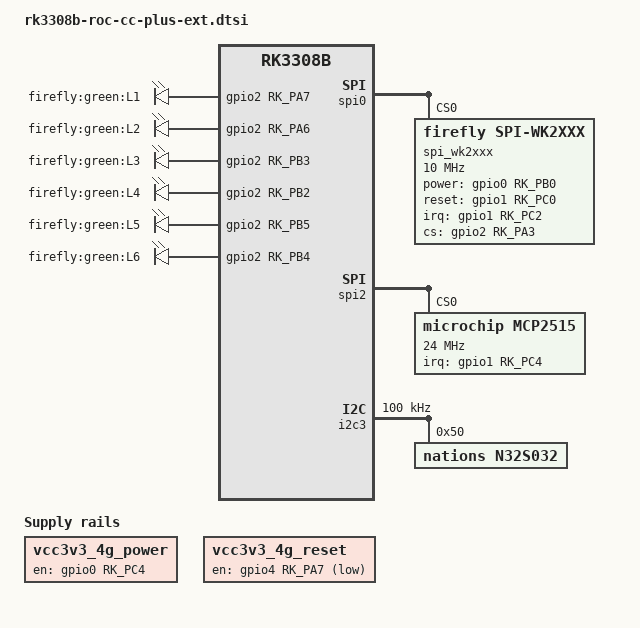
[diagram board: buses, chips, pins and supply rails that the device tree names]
/ {
    vcc3v3_4g_power: vcc3v3-4g-power-regulator {
       compatible = "regulator-fixed";
       enable-active-high;
       regulator-always-on;
       regulator-boot-on;
       gpio = <&gpio0 RK_PC4 GPIO_ACTIVE_HIGH>;
       pinctrl-names = "default";
       pinctrl-0 = <&pcie_4g_power>;
       regulator-name = "vcc3v3_4g_power";
    };

    vcc3v3_4g_reset: vcc3v3-4g-reset-regulator {
       compatible = "regulator-fixed";
       //enable-active-high;
       regulator-always-on;
       regulator-boot-on;
       gpio = <&gpio4 RK_PA7 GPIO_ACTIVE_HIGH>;
       pinctrl-names = "default";
       pinctrl-0 = <&pcie_4g_reset>;
       regulator-name = "vcc3v3_4g_reset";
    };

    mcp251x_clk: mcp251x-clk {
        compatible = "fixed-clock";
        #clock-cells = <0>;
        clock-frequency = <8000000>;        //MCP2515_CAN模块的晶振为8MHz
    };

    leds {
        status = "okay";
        compatible = "gpio-leds";

        L1 {
            label = "firefly:green:L1";
            gpios = <&gpio2 RK_PA7 GPIO_ACTIVE_HIGH>;
        };

        L2 {
            label = "firefly:green:L2";
            gpios = <&gpio2 RK_PA6 GPIO_ACTIVE_HIGH>;
        };

        L3 {
            label = "firefly:green:L3";
            gpios = <&gpio2 RK_PB3 GPIO_ACTIVE_HIGH>;
        };

        L4 {
            label = "firefly:green:L4";
            gpios = <&gpio2 RK_PB2 GPIO_ACTIVE_HIGH>;
        };

        L5 {
            label = "firefly:green:L5";
            gpios = <&gpio2 RK_PB5 GPIO_ACTIVE_HIGH>;
        };

        L6 {
            label = "firefly:green:L6";
            gpios = <&gpio2 RK_PB4 GPIO_ACTIVE_HIGH>;
        };
    };

};

&spi0 {
    status = "okay";
    max-freq = <48000000>;
    dev-port = <0>;
    dma-names = "!tx", "!rx";       //关闭dma，否则uart在数据包大于等于32字节时会有丢包现象

    spi_wk2xxx: spi_wk2xxx@00{                                                                                                                                                                                                              
        status = "okay";
        compatible = "firefly,spi-wk2xxx";
        reg = <0x00>;
        spi-max-frequency = <10000000>;
        power-gpio = <&gpio0 RK_PB0 GPIO_ACTIVE_HIGH>;
        reset-gpio = <&gpio1 RK_PC0 GPIO_ACTIVE_HIGH>;
        irq-gpio = <&gpio1 RK_PC2 IRQ_TYPE_EDGE_FALLING>;
        cs-gpio = <&gpio2 RK_PA3 GPIO_ACTIVE_HIGH>;
        /* rk3399 driver support SPI_CPOL | SPI_CPHA | SPI_CS_HIGH */
        //spi-cpha;             /* SPI mode: CPHA=1 */
        //spi-cpol;     /* SPI mode: CPOL=1 */
        //spi-cs-high;
    };
};

&spi2 {
    status = "okay";

    mcp2515: can@00 {
        status = "okay";
        compatible = "microchip,mcp2515";
        reg = <0x00>;
        clocks = <&mcp251x_clk>;
        interrupt-parent = <&gpio1>;
        interrupts = <RK_PC4 IRQ_TYPE_EDGE_FALLING>;
        spi-max-frequency = <24000000>;
        pinctrl-names = "default";
        pinctrl-0 = <&can0_pins>;
        poll_mode = <0>;
        enable_dma = <1>;
    };

    spi_LoRa1276C1: lora1276C1@01 {
        status = "disabled";
        compatible = "firefly,lora1276";
        reg = <0x01>;
        spi-max-frequency = <10000000>;
        //power-gpio = <&gpio0 RK_PC4 GPIO_ACTIVE_HIGH>;
        //reset-gpio = <&gpio4 RK_PA7 GPIO_ACTIVE_LOW>;
        irq-gpio = <&gpio4 RK_PA6 IRQ_TYPE_EDGE_FALLING>;
        cs-gpio = <&gpio1 RK_PD1 GPIO_ACTIVE_LOW>;
        sel-gpio=<&gpio1 RK_PB6 GPIO_ACTIVE_HIGH>;
    };

};

&i2c3 {
    status = "okay";
    pinctrl-0 = <&i2c3m1_xfer>;
    clock-frequency = <100000>;

    n32s032: n32s032@50 {
        compatible = "nations,n32s032";
        reg = <0x50>;
        status = "okay";
    };
};

&pinctrl {
    can0 {
        can0_pins: can0-pins {
            rockchip,pins = <1 RK_PC4 RK_FUNC_GPIO &pcfg_pull_none>;
        };
    };

    pcie {
        pcie_4g_power: pcie-4g-power {
            rockchip,pins = <0 RK_PC4 RK_FUNC_GPIO &pcfg_pull_down>;
        };

        pcie_4g_reset: pcie-4g-reset {
            rockchip,pins = <4 RK_PA7 RK_FUNC_GPIO &pcfg_pull_up>;
        };
    };
};
